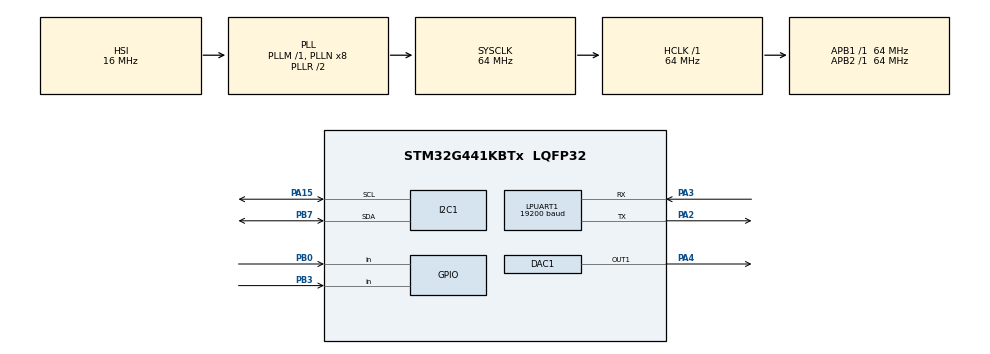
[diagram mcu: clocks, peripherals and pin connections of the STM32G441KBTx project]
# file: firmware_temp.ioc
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I2C1.Timing=0x10707DBC
LPUART1.BaudRate=19200
Mcu.Family=STM32G4
Mcu.Name=STM32G441KBTx
Mcu.Package=LQFP32
NVIC.PriorityGroup=NVIC_PRIORITYGROUP_4
NVIC.TIM4_IRQn=true\:0\:0\:false\:false\:true\:true\:true\:true
NVIC.TIM7_IRQn=true\:0\:0\:false\:false\:true\:true\:true\:true
PA15.GPIO_Pu=GPIO_PULLUP
PA15.Mode=I2C
PA15.Signal=I2C1_SCL
PA2.GPIO_PuPd=GPIO_PULLUP
PA2.Mode=Asynchronous
PA2.Signal=LPUART1_TX
PA3.GPIO_PuPd=GPIO_PULLUP
PA3.Mode=Asynchronous
PA3.Signal=LPUART1_RX
PA4.Signal=COMP_DAC11_group
PB0.Signal=GPIO_Input
PB3.Signal=GPIO_Input
PB7.GPIO_Pu=GPIO_PULLUP
PB7.Mode=I2C
PB7.Signal=I2C1_SDA
ProjectManager.HeapSize=0x200
ProjectManager.StackSize=0x400
ProjectManager.TargetToolchain=STM32CubeIDE
RCC.ADC12Freq_Value=64000000
RCC.AHBFreq_Value=64000000
RCC.APB1Freq_Value=64000000
RCC.APB1TimFreq_Value=64000000
RCC.APB2Freq_Value=64000000
RCC.APB2TimFreq_Value=64000000
RCC.CortexFreq_Value=64000000
RCC.EXTERNAL_CLOCK_VALUE=12288000
RCC.HCLKFreq_Value=64000000
RCC.HSE_VALUE=8000000
RCC.HSI48_VALUE=48000000
RCC.HSI_VALUE=16000000
RCC.LSE_VALUE=32768
RCC.SYSCLKFreq_VALUE=64000000
RCC.SYSCLKSource=RCC_SYSCLKSOURCE_PLLCLK
RCC.USBFreq_Value=64000000
RCC.VCOOutputFreq_Value=128000000
SH.COMP_DAC11_group.0=DAC1_OUT1,DAC_OUT1
TIM2.CounterMode=TIM_COUNTERMODE_DOWN
TIM2.PeriodNoDither=1
TIM2.Prescaler=15999
TIM4.CounterMode=TIM_COUNTERMODE_UP
TIM4.PeriodNoDither=7200
TIM4.Prescaler=1000
TIM7.Prescaler=1000
VP_TIM2_VS_ClockSourceINT.Mode=Internal
VP_TIM4_VS_ClockSourceINT.Mode=Internal
VP_TIM7_VS_ClockSourceINT.Mode=Enable_Timer
board=custom

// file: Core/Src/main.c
/* USER CODE BEGIN Header */
/**
  ******************************************************************************
  * @file           : main.c
  * @brief          : Main program body
  ******************************************************************************
  * @attention
  *
  * Copyright (c) 2023 STMicroelectronics.
  * All rights reserved.
  *
  * This software is licensed under terms that can be found in the LICENSE file
  * in the root directory of this software component.
  * If no LICENSE file comes with this software, it is provided AS-IS.
  *
  ******************************************************************************
  */
/* USER CODE END Header */
#include "main.h"

/* USER CODE BEGIN Includes */
#include "accelerometer.h"
#include <stdio.h>
/* USER CODE END Includes */

DAC_HandleTypeDef hdac1;

I2C_HandleTypeDef hi2c1;

UART_HandleTypeDef hlpuart1;

TIM_HandleTypeDef htim2;
TIM_HandleTypeDef htim4;
TIM_HandleTypeDef htim7;

/* USER CODE BEGIN PV */
static volatile struct accelerometer_t xl_r = {.slave_r_addr = ACC0_R_ADDR, .slave_w_addr = ACC0_W_ADDR, .irq_pin = GPIO_PIN_0};
static volatile struct accelerometer_t xl_l = {.slave_r_addr = ACC1_R_ADDR, .slave_w_addr = ACC1_W_ADDR, .irq_pin = GPIO_PIN_1};
static volatile HAL_StatusTypeDef status;

/* USER CODE END PV */

void SystemClock_Config(void);
static void MX_GPIO_Init(void);
static void MX_DAC1_Init(void);
static void MX_I2C1_Init(void);
static void MX_LPUART1_UART_Init(void);
static void MX_TIM2_Init(void);
static void MX_TIM4_Init(void);
static void MX_TIM7_Init(void);

/* USER CODE BEGIN 0 */
static volatile HAL_StatusTypeDef status;

int _write(int fd, char* ptr, int len) {
  HAL_UART_Transmit(&hlpuart1, (uint8_t *) ptr, len, HAL_MAX_DELAY);
  return len;
}
volatile int allow_hit_r;
volatile int allow_hit_l;

/* USER CODE END 0 */

int main(void)
{

  /* MCU Configuration--------------------------------------------------------*/

  /* Reset of all peripherals, Initializes the Flash interface and the Systick. */
  HAL_Init();

  /* Configure the system clock */
  SystemClock_Config();

  /* Initialize all configured peripherals */
  MX_GPIO_Init();
  MX_DAC1_Init();
  MX_I2C1_Init();
  MX_LPUART1_UART_Init();
  MX_TIM2_Init();
  MX_TIM4_Init();
  MX_TIM7_Init();
  /* USER CODE BEGIN 2 */

  HAL_TIM_Base_Start_IT(&htim2);

  uint8_t status_mlc1;
  uint16_t timer_val;
  acc_init(&xl_l);
  acc_init(&xl_r);

  status = accelerometer_read(&xl_r, WHO_AM_I, &status_mlc1);
  printf("ID: %d\r\n",status_mlc1);

  if (status != HAL_OK) printf("init error\r\n");

  allow_hit_r = 1;
  allow_hit_l = 1;

  /* USER CODE END 2 */

  /* Infinite loop */
  /* USER CODE BEGIN WHILE */
  while (1)
  {
	  status = read_axis(&xl_r, ALL_AXIS);
	  status = read_axis(&xl_l, ALL_AXIS);

	if(xl_r.z_xlr < -0x2000 && allow_hit_r) // hit on right
	{
		if(xl_r.x_xlr < -0x100) // right
		{
			if(xl_r.y_xlr < -0x1000) // right-up
			{
				printf("right-up\n\r");
				status = HAL_TIM_Base_Start_IT(&htim4);
				allow_hit_r = 0;
			}
			if(xl_r.y_xlr > 0x4800) // right-down
			{
				printf("right-down\n\r");
				status = HAL_TIM_Base_Start_IT(&htim4);
				allow_hit_r = 0;
			}
		}

		if(xl_r.x_xlr > 0x00) // left
		{
			if(xl_r.y_xlr < -0x1000) // left-up
			{
				printf("left-up\n\r");
				status = HAL_TIM_Base_Start_IT(&htim4);
				allow_hit_r = 0;
			}
			if(xl_r.y_xlr > 0x6000) // left-down
			{
				printf("left-down\n\r");
				status = HAL_TIM_Base_Start_IT(&htim4);
				allow_hit_r = 0;
			}
		}
	}

	if(xl_l.z_xlr < -0x2000 && allow_hit_l) // hit on right
	{
		if(xl_l.x_xlr < -0x100) // right
		{
			if(xl_l.y_xlr < -0x1000) // right-up
			{
				printf("left right-up\n\r");
				status = HAL_TIM_Base_Start_IT(&htim7);
				allow_hit_l = 0;
			}
			if(xl_l.y_xlr > 0x4800) // right-down
			{
				printf("left right-down\n\r");
				status = HAL_TIM_Base_Start_IT(&htim7);
				allow_hit_l = 0;
			}
		}

		if(xl_l.x_xlr > 0x00) // left
		{
			if(xl_l.y_xlr < -0x1000) // left-up
			{
				printf("left left-up\n\r");
				status = HAL_TIM_Base_Start_IT(&htim7);
				allow_hit_l = 0;
			}
			if(xl_l.y_xlr > 0x6000) // left-down
			{
				printf("left left-down\n\r");
				status = HAL_TIM_Base_Start_IT(&htim7);
				allow_hit_l = 0;
			}
		}
	}
//	if(xl_l.z_xlr < -0x2000 && allow_hit_l==0) // hit on right
//		printf("cooldown\r\n");

//	  if (status != HAL_OK) printf("run error\r\n");
    /* USER CODE END WHILE */

  }
}

void SystemClock_Config(void)
{
  RCC_OscInitTypeDef RCC_OscInitStruct = {0};
  RCC_ClkInitTypeDef RCC_ClkInitStruct = {0};

  /** Configure the main internal regulator output voltage
  */
  HAL_PWREx_ControlVoltageScaling(PWR_REGULATOR_VOLTAGE_SCALE1);

  /** Initializes the RCC Oscillators according to the specified parameters
  * in the RCC_OscInitTypeDef structure.
  */
  RCC_OscInitStruct.OscillatorType = RCC_OSCILLATORTYPE_HSI;
  RCC_OscInitStruct.HSIState = RCC_HSI_ON;
  RCC_OscInitStruct.HSICalibrationValue = RCC_HSICALIBRATION_DEFAULT;
  RCC_OscInitStruct.PLL.PLLState = RCC_PLL_ON;
  RCC_OscInitStruct.PLL.PLLSource = RCC_PLLSOURCE_HSI;
  RCC_OscInitStruct.PLL.PLLM = RCC_PLLM_DIV1;
  RCC_OscInitStruct.PLL.PLLN = 8;
  RCC_OscInitStruct.PLL.PLLP = RCC_PLLP_DIV2;
  RCC_OscInitStruct.PLL.PLLQ = RCC_PLLQ_DIV2;
  RCC_OscInitStruct.PLL.PLLR = RCC_PLLR_DIV2;
  if (HAL_RCC_OscConfig(&RCC_OscInitStruct) != HAL_OK)
  {
    Error_Handler();
  }

  /** Initializes the CPU, AHB and APB buses clocks
  */
  RCC_ClkInitStruct.ClockType = RCC_CLOCKTYPE_HCLK|RCC_CLOCKTYPE_SYSCLK
                              |RCC_CLOCKTYPE_PCLK1|RCC_CLOCKTYPE_PCLK2;
  RCC_ClkInitStruct.SYSCLKSource = RCC_SYSCLKSOURCE_PLLCLK;
  RCC_ClkInitStruct.AHBCLKDivider = RCC_SYSCLK_DIV1;
  RCC_ClkInitStruct.APB1CLKDivider = RCC_HCLK_DIV1;
  RCC_ClkInitStruct.APB2CLKDivider = RCC_HCLK_DIV1;

  if (HAL_RCC_ClockConfig(&RCC_ClkInitStruct, FLASH_LATENCY_2) != HAL_OK)
  {
    Error_Handler();
  }
}

static void MX_DAC1_Init(void)
{

  DAC_ChannelConfTypeDef sConfig = {0};

  /** DAC Initialization
  */
  hdac1.Instance = DAC1;
  if (HAL_DAC_Init(&hdac1) != HAL_OK)
  {
    Error_Handler();
  }

  /** DAC channel OUT1 config
  */
  sConfig.DAC_HighFrequency = DAC_HIGH_FREQUENCY_INTERFACE_MODE_AUTOMATIC;
  sConfig.DAC_DMADoubleDataMode = DISABLE;
  sConfig.DAC_SignedFormat = DISABLE;
  sConfig.DAC_SampleAndHold = DAC_SAMPLEANDHOLD_DISABLE;
  sConfig.DAC_Trigger = DAC_TRIGGER_NONE;
  sConfig.DAC_Trigger2 = DAC_TRIGGER_NONE;
  sConfig.DAC_OutputBuffer = DAC_OUTPUTBUFFER_ENABLE;
  sConfig.DAC_ConnectOnChipPeripheral = DAC_CHIPCONNECT_EXTERNAL;
  sConfig.DAC_UserTrimming = DAC_TRIMMING_FACTORY;
  if (HAL_DAC_ConfigChannel(&hdac1, &sConfig, DAC_CHANNEL_1) != HAL_OK)
  {
    Error_Handler();
  }

}

static void MX_I2C1_Init(void)
{

  hi2c1.Instance = I2C1;
  hi2c1.Init.Timing = 0x10707DBC;
  hi2c1.Init.OwnAddress1 = 0;
  hi2c1.Init.AddressingMode = I2C_ADDRESSINGMODE_7BIT;
  hi2c1.Init.DualAddressMode = I2C_DUALADDRESS_DISABLE;
  hi2c1.Init.OwnAddress2 = 0;
  hi2c1.Init.OwnAddress2Masks = I2C_OA2_NOMASK;
  hi2c1.Init.GeneralCallMode = I2C_GENERALCALL_DISABLE;
  hi2c1.Init.NoStretchMode = I2C_NOSTRETCH_DISABLE;
  if (HAL_I2C_Init(&hi2c1) != HAL_OK)
  {
    Error_Handler();
  }

  /** Configure Analogue filter
  */
  if (HAL_I2CEx_ConfigAnalogFilter(&hi2c1, I2C_ANALOGFILTER_ENABLE) != HAL_OK)
  {
    Error_Handler();
  }

  /** Configure Digital filter
  */
  if (HAL_I2CEx_ConfigDigitalFilter(&hi2c1, 0) != HAL_OK)
  {
    Error_Handler();
  }

}

static void MX_LPUART1_UART_Init(void)
{

  hlpuart1.Instance = LPUART1;
  hlpuart1.Init.BaudRate = 19200;
  hlpuart1.Init.WordLength = UART_WORDLENGTH_8B;
  hlpuart1.Init.StopBits = UART_STOPBITS_1;
  hlpuart1.Init.Parity = UART_PARITY_NONE;
  hlpuart1.Init.Mode = UART_MODE_TX_RX;
  hlpuart1.Init.HwFlowCtl = UART_HWCONTROL_NONE;
  hlpuart1.Init.OneBitSampling = UART_ONE_BIT_SAMPLE_DISABLE;
  hlpuart1.Init.ClockPrescaler = UART_PRESCALER_DIV1;
  hlpuart1.AdvancedInit.AdvFeatureInit = UART_ADVFEATURE_NO_INIT;
  if (HAL_UART_Init(&hlpuart1) != HAL_OK)
  {
    Error_Handler();
  }
  if (HAL_UARTEx_SetTxFifoThreshold(&hlpuart1, UART_TXFIFO_THRESHOLD_1_8) != HAL_OK)
  {
    Error_Handler();
  }
  if (HAL_UARTEx_SetRxFifoThreshold(&hlpuart1, UART_RXFIFO_THRESHOLD_1_8) != HAL_OK)
  {
    Error_Handler();
  }
  if (HAL_UARTEx_DisableFifoMode(&hlpuart1) != HAL_OK)
  {
    Error_Handler();
  }

}

static void MX_TIM2_Init(void)
{

  TIM_ClockConfigTypeDef sClockSourceConfig = {0};
  TIM_MasterConfigTypeDef sMasterConfig = {0};

  htim2.Instance = TIM2;
  htim2.Init.Prescaler = 15999;
  htim2.Init.CounterMode = TIM_COUNTERMODE_DOWN;
  htim2.Init.Period = 1;
  htim2.Init.ClockDivision = TIM_CLOCKDIVISION_DIV1;
  htim2.Init.AutoReloadPreload = TIM_AUTORELOAD_PRELOAD_DISABLE;
  if (HAL_TIM_Base_Init(&htim2) != HAL_OK)
  {
    Error_Handler();
  }
  sClockSourceConfig.ClockSource = TIM_CLOCKSOURCE_INTERNAL;
  if (HAL_TIM_ConfigClockSource(&htim2, &sClockSourceConfig) != HAL_OK)
  {
    Error_Handler();
  }
  sMasterConfig.MasterOutputTrigger = TIM_TRGO_RESET;
  sMasterConfig.MasterSlaveMode = TIM_MASTERSLAVEMODE_DISABLE;
  if (HAL_TIMEx_MasterConfigSynchronization(&htim2, &sMasterConfig) != HAL_OK)
  {
    Error_Handler();
  }

}

static void MX_TIM4_Init(void)
{

  TIM_ClockConfigTypeDef sClockSourceConfig = {0};
  TIM_MasterConfigTypeDef sMasterConfig = {0};

  htim4.Instance = TIM4;
  htim4.Init.Prescaler = 1000;
  htim4.Init.CounterMode = TIM_COUNTERMODE_UP;
  htim4.Init.Period = 7200;
  htim4.Init.ClockDivision = TIM_CLOCKDIVISION_DIV1;
  htim4.Init.AutoReloadPreload = TIM_AUTORELOAD_PRELOAD_DISABLE;
  if (HAL_TIM_Base_Init(&htim4) != HAL_OK)
  {
    Error_Handler();
  }
  sClockSourceConfig.ClockSource = TIM_CLOCKSOURCE_INTERNAL;
  if (HAL_TIM_ConfigClockSource(&htim4, &sClockSourceConfig) != HAL_OK)
  {
    Error_Handler();
  }
  sMasterConfig.MasterOutputTrigger = TIM_TRGO_RESET;
  sMasterConfig.MasterSlaveMode = TIM_MASTERSLAVEMODE_DISABLE;
  if (HAL_TIMEx_MasterConfigSynchronization(&htim4, &sMasterConfig) != HAL_OK)
  {
    Error_Handler();
  }

}

static void MX_TIM7_Init(void)
{

  TIM_MasterConfigTypeDef sMasterConfig = {0};

  htim7.Instance = TIM7;
  htim7.Init.Prescaler = 1000;
  htim7.Init.CounterMode = TIM_COUNTERMODE_UP;
  htim7.Init.Period = 65535;
  htim7.Init.AutoReloadPreload = TIM_AUTORELOAD_PRELOAD_DISABLE;
  if (HAL_TIM_Base_Init(&htim7) != HAL_OK)
  {
    Error_Handler();
  }
  sMasterConfig.MasterOutputTrigger = TIM_TRGO_RESET;
  sMasterConfig.MasterSlaveMode = TIM_MASTERSLAVEMODE_DISABLE;
  if (HAL_TIMEx_MasterConfigSynchronization(&htim7, &sMasterConfig) != HAL_OK)
  {
    Error_Handler();
  }

}

static void MX_GPIO_Init(void)
{
  GPIO_InitTypeDef GPIO_InitStruct = {0};

  /* GPIO Ports Clock Enable */
  __HAL_RCC_GPIOA_CLK_ENABLE();
  __HAL_RCC_GPIOB_CLK_ENABLE();

  /*Configure GPIO pins : PB0 PB3 */
  GPIO_InitStruct.Pin = GPIO_PIN_0|GPIO_PIN_3;
  GPIO_InitStruct.Mode = GPIO_MODE_INPUT;
  GPIO_InitStruct.Pull = GPIO_NOPULL;
  HAL_GPIO_Init(GPIOB, &GPIO_InitStruct);

}

/* USER CODE BEGIN 4 */
/**
  * @brief Timer Callback function
  * @param htim - the timer that triggered the callback
  * @retval None
  */
void HAL_TIM_PeriodElapsedCallback(TIM_HandleTypeDef *htim)
{

  uint8_t msg[25] = "test\n";

  // Check which version of the timer triggered this callback and toggle LED
  if (htim == &htim7)
  {
//	  HAL_GPIO_WritePin(GPIOA, GPIO_PIN_8, GPIO_PIN_SET);
//	  printf("hit 4 \r\n");
	  allow_hit_l = 1;
  }
  if (htim == &htim4)
  {
//	  HAL_GPIO_WritePin(GPIOA, GPIO_PIN_8, GPIO_PIN_SET);
//	  printf("hit 4 \r\n");
	  allow_hit_r = 1;
  }
  if (htim == &htim2)
  {
//	  HAL_GPIO_WritePin(GPIOA, GPIO_PIN_8, GPIO_PIN_SET);
	  printf("hit 2 \r\n");
  }
//  if (htim == &htim21)
//  {
//	  status = read_axis(&xl_r, ALL_AXIS);
//	  sprintf(msg, "%d,%d,%d", xl_r.x_xlr, xl_r.y_xlr, xl_r.z_xlr);
//	  HAL_UART_Transmit(&hlpuart1, msg, sizeof(msg), 10);
//  }
}
/* USER CODE END 4 */

void Error_Handler(void)
{
  __disable_irq();
  while (1)
  {
  }
}
